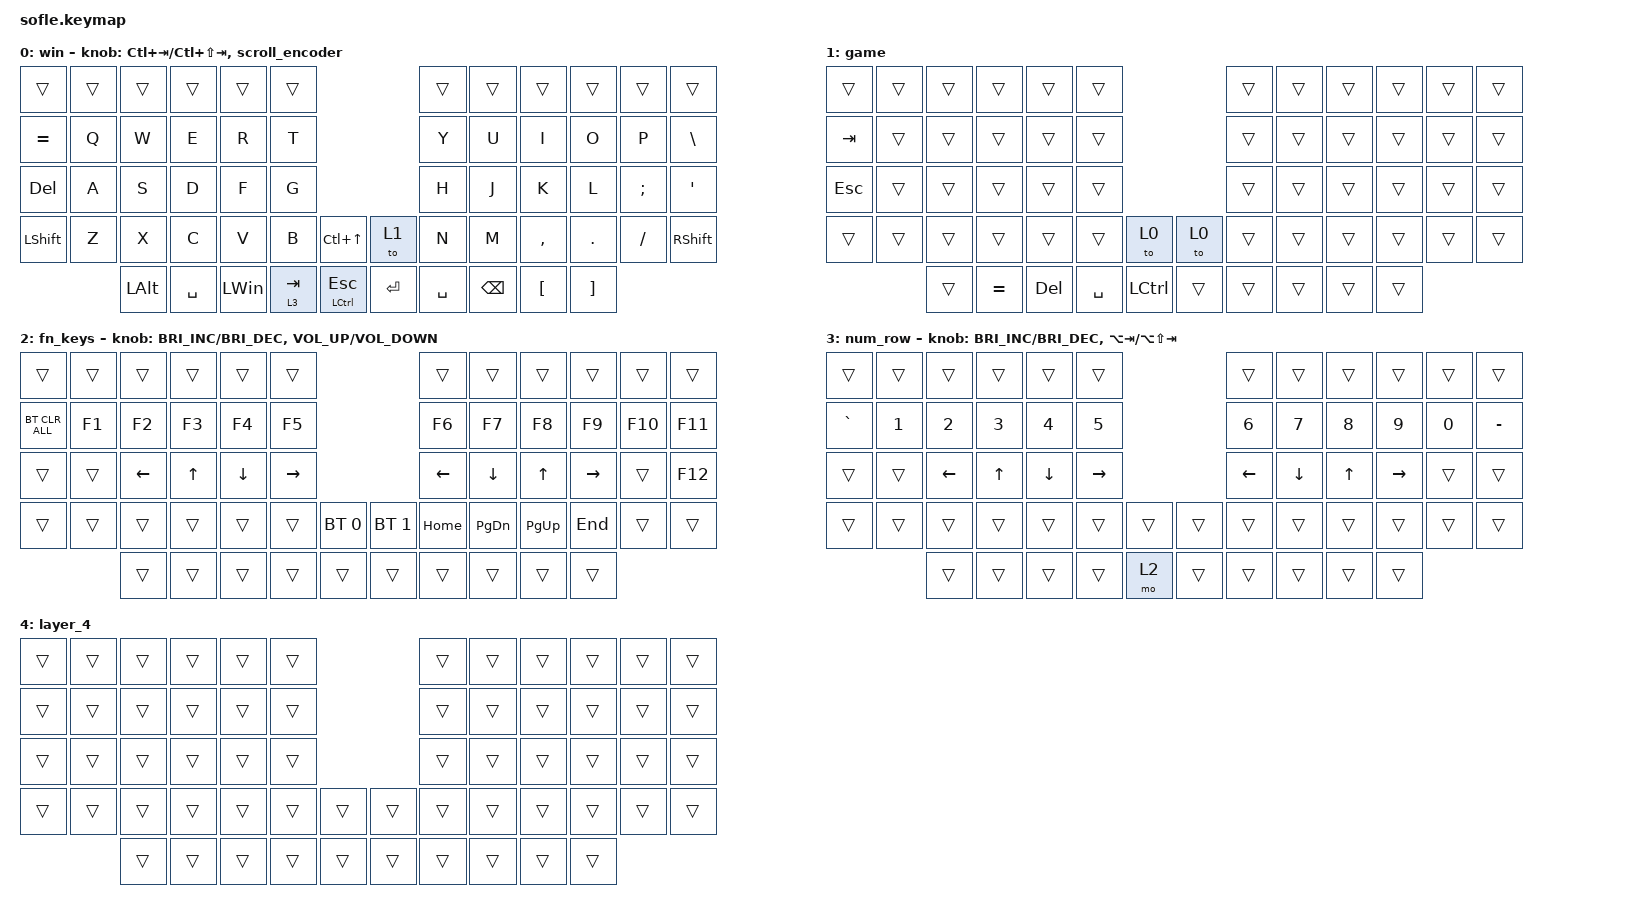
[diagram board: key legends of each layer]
/*
 * Copyright (c) 2020 The ZMK Contributors
 *
 * SPDX-License-Identifier: MIT
 */

#include <behaviors.dtsi>
#include <dt-bindings/zmk/bt.h>
#include <dt-bindings/zmk/keys.h>
#include <dt-bindings/zmk/pointing.h>
#define BASE 0
#define LOWER 1
#define RAISE 2
#define ADJUST 3

&mt {
    tapping-term-ms = <300>;
    hold-while-undecided;
};

&lt { tapping-term-ms = <300>; };

/ {
    // Activate ADJUST layer by pressing raise and lower

    conditional_layers { compatible = "zmk,conditional-layers"; };
behaviors {
    scroll_encoder: scroll_encoder {
        compatible = "zmk,behavior-sensor-rotate";
        #sensor-binding-cells = <0>;
        bindings = <&msc SCRL_UP>, <&msc SCRL_DOWN>;
    };
};
    keymap {
        compatible = "zmk,keymap";

        windows {
            display-name = "win";

            // ------------------------------------------------------------------------------------------------------------
            // |   `   |  1  |  2  |  3   |  4   |  5   |                   |  6   |  7    |  8    |  9   |   0   |       |
            // |  ESC  |  Q  |  W  |  E   |  R   |  T   |                   |  Y   |  U    |  I    |  O   |   P   | BKSPC |
            // |  TAB  |  A  |  S  |  D   |  F   |  G   |                   |  H   |  J    |  K    |  L   |   ;   |   '   |
            // | SHIFT |  Z  |  X  |  C   |  V   |  B   |  MUTE  |  |       |  N   |  M    |  ,    |  .   |   /   | SHIFT |
            //               | GUI | ALT  | CTRL | LOWER|  ENTER |  | SPACE | RAISE| CTRL  | ALT   | GUI  |

            bindings = <
&trans     &trans  &trans        &trans     &trans        &trans                                    &trans     &trans         &trans            &trans             &trans    &trans
&kp EQUAL  &kp Q   &kp W         &kp E      &kp R         &kp T                                     &kp Y      &kp U          &kp I             &kp O              &kp P     &kp BACKSLASH
&kp DEL    &kp A   &kp S         &kp D      &kp F         &kp G                                     &kp H      &kp J          &kp K             &kp L              &kp SEMI  &kp SQT
&kp LSHFT  &kp Z   &kp X         &kp C      &kp V         &kp B      &kp LC(UP_ARROW)    &to 1      &kp N      &kp M          &kp COMMA         &kp DOT            &kp FSLH  &kp RIGHT_SHIFT
                   &kp LEFT_ALT  &kp SPACE  &kp LEFT_WIN  &lt 3 TAB  &mt LCTRL ESCAPE    &kp ENTER  &kp SPACE  &kp BACKSPACE  &kp LEFT_BRACKET  &kp RIGHT_BRACKET
            >;

            sensor-bindings =
                <&inc_dec_kp LC(TAB) LC(LS(TAB))>,
                <&scroll_encoder>;
        };

        Gaming {
            bindings = <
&trans      &trans  &trans  &trans     &trans      &trans                          &trans  &trans  &trans  &trans  &trans  &trans
&kp TAB     &trans  &trans  &trans     &trans      &trans                          &trans  &trans  &trans  &trans  &trans  &trans
&kp ESCAPE  &trans  &trans  &trans     &trans      &trans                          &trans  &trans  &trans  &trans  &trans  &trans
&trans      &trans  &trans  &trans     &trans      &trans     &to 0        &to 0   &trans  &trans  &trans  &trans  &trans  &trans
                    &trans  &kp EQUAL  &kp DELETE  &kp SPACE  &kp LCTRL    &trans  &trans  &trans  &trans  &trans
            >;

            label = "game";
        };

        function_keys {
            display-name = "fn_keys";

            // TODO: Some binds are waiting for shifted keycode support.
            // ------------------------------------------------------------------------------------------------------------
            // |       |  F1 |  F2 |  F3  |  F4  |  F5  |                   |  F6  |  F7   |  F8   |  F9  |  F10  |  F11  |
            // |   `   |  1  |  2  |  3   |  4   |  5   |                   |  6   |  7    |  8    |  9   |   0   |  F12  |
            // |       |  !  |  @  |  #   |  $   |  %   |                   |  ^   |  &    |  *    |  (   |   )   |   |   |
            // |       |  =  |  -  |  +   |  {   |  }   |        |  |       |  [   |  ]    |  ;    |  :   |   \   |       |
            //               |     |      |      |      |        |  |       |      |       |       |      |

            bindings = <
&trans          &trans  &trans    &trans        &trans          &trans                                         &trans          &trans          &trans        &trans           &trans   &trans
&bt BT_CLR_ALL  &kp F1  &kp F2    &kp F3        &kp F4          &kp F5                                         &kp F6          &kp F7          &kp F8        &kp F9           &kp F10  &kp F11
&trans          &trans  &kp LEFT  &kp UP_ARROW  &kp DOWN_ARROW  &kp RIGHT_ARROW                                &kp LEFT_ARROW  &kp DOWN_ARROW  &kp UP_ARROW  &kp RIGHT_ARROW  &trans   &kp F12
&trans          &trans  &trans    &trans        &trans          &trans           &bt BT_SEL 0    &bt BT_SEL 1  &kp HOME        &kp PAGE_DOWN   &kp PAGE_UP   &kp END          &trans   &trans
                        &trans    &trans        &trans          &trans           &trans          &trans        &trans          &trans          &trans        &trans
            >;

            sensor-bindings =
                <&inc_dec_kp C_BRIGHTNESS_INC C_BRIGHTNESS_DEC>,
                <&inc_dec_kp C_VOLUME_UP C_VOLUME_DOWN>;
        };

        num_row {
            bindings = <
&trans     &trans  &trans          &trans        &trans    &trans                             &trans          &trans          &trans        &trans           &trans  &trans
&kp GRAVE  &kp N1  &kp N2          &kp N3        &kp N4    &kp N5                             &kp N6          &kp N7          &kp N8        &kp N9           &kp N0  &kp MINUS
&trans     &trans  &kp LEFT_ARROW  &kp UP_ARROW  &kp DOWN  &kp RIGHT_ARROW                    &kp LEFT_ARROW  &kp DOWN_ARROW  &kp UP_ARROW  &kp RIGHT_ARROW  &trans  &trans
&trans     &trans  &trans          &trans        &trans    &trans           &trans    &trans  &trans          &trans          &trans        &trans           &trans  &trans
                   &trans          &trans        &trans    &trans           &mo 2     &trans  &trans          &trans          &trans        &trans
            >;

            sensor-bindings =
                <&inc_dec_kp C_BRIGHTNESS_INC C_BRIGHTNESS_DEC>,
                <&inc_dec_kp LA(TAB) LA(LS(TAB))>;
        };

        layer_4 {
            bindings = <
&trans  &trans  &trans  &trans  &trans  &trans                    &trans  &trans  &trans  &trans  &trans  &trans
&trans  &trans  &trans  &trans  &trans  &trans                    &trans  &trans  &trans  &trans  &trans  &trans
&trans  &trans  &trans  &trans  &trans  &trans                    &trans  &trans  &trans  &trans  &trans  &trans
&trans  &trans  &trans  &trans  &trans  &trans  &trans    &trans  &trans  &trans  &trans  &trans  &trans  &trans
                &trans  &trans  &trans  &trans  &trans    &trans  &trans  &trans  &trans  &trans
            >;
        };
    };
};
